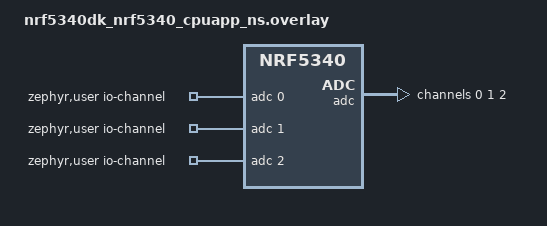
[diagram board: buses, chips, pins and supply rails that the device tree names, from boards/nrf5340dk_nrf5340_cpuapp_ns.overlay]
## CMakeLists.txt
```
# SPDX-License-Identifier: Apache-2.0

cmake_minimum_required(VERSION 3.20.0)

find_package(Zephyr HINTS $ENV{ZEPHYR_BASE})
project(ADC)

target_sources(app PRIVATE src/main.c)

set(CMAKE_CXX_STANDARD 11)
set(CMAKE_CXX_STANDARD_REQUIRED ON)

add_subdirectory(./continuous-motion-recognition)

MACRO(HEADER_DIRECTORIES return_list)
    FILE(GLOB_RECURSE new_list *.h)
    SET(dir_list "")
    FOREACH(file_path ${new_list})
        GET_FILENAME_COMPONENT(dir_path ${file_path} PATH)
        SET(dir_list ${dir_list} ${dir_path})
    ENDFOREACH()
    LIST(REMOVE_DUPLICATES dir_list)
    SET(${return_list} ${dir_list})
ENDMACRO()

HEADER_DIRECTORIES(header_dir_list)

list(LENGTH header_dir_list header_dir_list_count)
message(STATUS "[INFO] Found ${header_dir_list_count} header directories.")

target_include_directories(
    app
    PUBLIC
    ${header_dir_list} # Recursive
)
```

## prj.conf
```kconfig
CONFIG_ADC=y

CONFIG_CPLUSPLUS=y
CONFIG_LIB_CPLUSPLUS=y
CONFIG_NEWLIB_LIBC=y
CONFIG_NEWLIB_LIBC_FLOAT_PRINTF=y

CONFIG_MAIN_STACK_SIZE=8192
```

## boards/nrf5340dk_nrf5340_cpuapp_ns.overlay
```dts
/*
 * SPDX-License-Identifier: Apache-2.0
 *
 * Copyright (c) 2022 Nordic Semiconductor ASA
 */

 #include <zephyr/dt-bindings/adc/adc.h>
/ {
	zephyr,user {
		io-channels = <&adc 0>, <&adc 1>, <&adc 2>;
	};
};

&adc {
	#address-cells = <1>;
	#size-cells = <0>;
	status = "okay";

	channel@0 {
		reg = <0>;
		zephyr,gain = "ADC_GAIN_1_6";
		zephyr,reference = "ADC_REF_INTERNAL";
		zephyr,acquisition-time = <ADC_ACQ_TIME_DEFAULT>;
		zephyr,input-positive = <NRF_SAADC_AIN0>;
		zephyr,resolution = <12>;
	};

	channel@1 {
		reg = <1>;
		zephyr,gain = "ADC_GAIN_1_6";
		zephyr,reference = "ADC_REF_INTERNAL";
		zephyr,acquisition-time = <ADC_ACQ_TIME_DEFAULT>;
		zephyr,input-positive = <NRF_SAADC_AIN1>;
		zephyr,resolution = <12>;
	};

	channel@2 {
		reg = <2>;
		zephyr,gain = "ADC_GAIN_1_6";
		zephyr,reference = "ADC_REF_INTERNAL";
		zephyr,acquisition-time = <ADC_ACQ_TIME_DEFAULT>;
		zephyr,input-positive = <NRF_SAADC_AIN2>;
		zephyr,resolution = <12>;
	};
};
```

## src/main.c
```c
/*
 * Copyright (c) 2020 Libre Solar Technologies GmbH
 *
 * SPDX-License-Identifier: Apache-2.0
 */

#include <inttypes.h>
#include <stddef.h>
#include <stdint.h>

#include <zephyr/device.h>
#include <zephyr/devicetree.h>
#include <zephyr/drivers/adc.h>
#include <zephyr/kernel.h>
#include <zephyr/sys/printk.h>
#include <zephyr/sys/util.h>

#include <stdio.h>
#include <stdlib.h>
#include "ei_run_classifier.h"

#if !DT_NODE_EXISTS(DT_PATH(zephyr_user)) || \
	!DT_NODE_HAS_PROP(DT_PATH(zephyr_user), io_channels)
#error "No suitable devicetree overlay specified"
#endif

#define DT_SPEC_AND_COMMA(node_id, prop, idx) \
	ADC_DT_SPEC_GET_BY_IDX(node_id, idx),

/* Data of ADC io-channels specified in devicetree. */
static const struct adc_dt_spec adc_channels[] = {
	DT_FOREACH_PROP_ELEM(DT_PATH(zephyr_user), io_channels,
			     DT_SPEC_AND_COMMA)
};

static int64_t sampling_freq = EI_CLASSIFIER_FREQUENCY; // in Hz.
static int64_t time_between_samples_us = (1000000 / (sampling_freq - 1));
static float features[EI_CLASSIFIER_DSP_INPUT_FRAME_SIZE];

void main(void)
{
	int err;
	int16_t buf;
	struct adc_sequence sequence = {
		.buffer = &buf,
		/* buffer size in bytes, not number of samples */
		.buffer_size = sizeof(buf),
	};

	/* Configure channels individually prior to sampling. */
	for (size_t i = 0U; i < ARRAY_SIZE(adc_channels); i++) {
		if (!device_is_ready(adc_channels[i].dev)) {
			printk("ADC controller device not ready\n");
			return;
		}

		err = adc_channel_setup_dt(&adc_channels[i]);
		if (err < 0) {
			printk("Could not setup channel #%d (%d)\n", i, err);
			return;
		}
	}

	while (1) {
        for (size_t ix = 0; ix < EI_CLASSIFIER_DSP_INPUT_FRAME_SIZE; ix += EI_CLASSIFIER_RAW_SAMPLES_PER_FRAME) {
            // start a timer that expires when we need to grab the next value
            struct k_timer next_val_timer;
            k_timer_init(&next_val_timer, NULL, NULL);
            k_timer_start(&next_val_timer, K_USEC(time_between_samples_us), K_NO_WAIT);

            // read data from the sensor
			for (size_t i = 0U; i < ARRAY_SIZE(adc_channels); i++) {
				(void)adc_sequence_init_dt(&adc_channels[i], &sequence);

				err = adc_read(adc_channels[i].dev, &sequence);
				if (err < 0) {
					printk("Could not read (%d)\n", err);
					continue;
				} else {
					// fill the features array
            		features[ix + i] = buf;
				}
			}

            // busy loop until next value should be grabbed
            while (k_timer_status_get(&next_val_timer) <= 0);
        }

        // frame full? then classify
        ei_impulse_result_t result = { 0 };

        // create signal from features frame
        signal_t signal;
        numpy::signal_from_buffer(features, EI_CLASSIFIER_DSP_INPUT_FRAME_SIZE, &signal);

        // run classifier
        EI_IMPULSE_ERROR res = run_classifier(&signal, &result, false);
        printf("run_classifier returned: %d\n", res);
        if (res != 0) return 1;

        // print predictions
        printf("Predictions (DSP: %d ms., Classification: %d ms., Anomaly: %d ms.): \n",
            result.timing.dsp, result.timing.classification, result.timing.anomaly);

        // print the predictions
        for (size_t ix = 0; ix < EI_CLASSIFIER_LABEL_COUNT; ix++) {
            printf("%s:\t%.5f\n", result.classification[ix].label, result.classification[ix].value);
        }
		#if EI_CLASSIFIER_HAS_ANOMALY == 1
			printf("anomaly:\t%.3f\n", result.anomaly);
		#endif
    }
}
```
